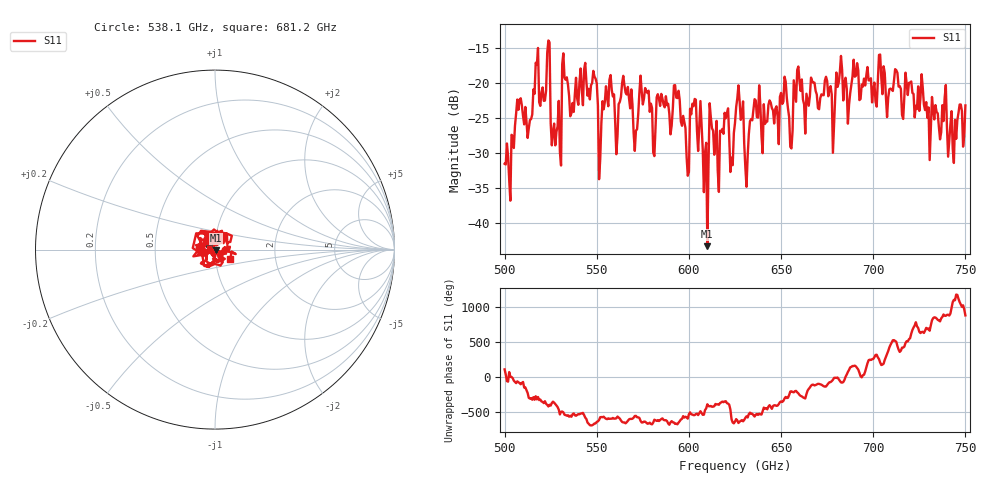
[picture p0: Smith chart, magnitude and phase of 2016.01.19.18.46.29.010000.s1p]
!Created with skrf (http://scikit-rf.org).
# GHz S RI R 50.0
!freq ReS11 ImS11
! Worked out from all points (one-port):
!   401 points, 500 GHz to 750 GHz, reference 50 ohm
!   lowest |S11| = -43.4 dB at 610 GHz (marker M1), VSWR 1.01, Z = 50.6 - j0.341 ohm
!   |S11| at or under -10 dB: start of sweep to end of sweep
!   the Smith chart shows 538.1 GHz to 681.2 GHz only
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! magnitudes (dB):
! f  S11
! 500 GHz  -31.6
! 507.5 GHz  -23.9
! 513.8 GHz  -25.3
! 516.9 GHz  -17.1
! 523.1 GHz  -15.7
! 526.9 GHz  -25.8
! 531.2 GHz  -17.4
! 532.5 GHz  -19.3
! 536.2 GHz  -24.4
! 548.8 GHz  -19.1
! 552.5 GHz  -25.8
! 556.2 GHz  -23.4
! 562.5 GHz  -22.8
! 576.9 GHz  -21.2
! 580.6 GHz  -30.0
! 593.8 GHz  -22.2
! 598.8 GHz  -30.7
! 602.5 GHz  -23.4
! 610 GHz  -43.4
! 625 GHz  -25.8
! 628.1 GHz  -25.3
! 631.2 GHz  -34.9
! 636.9 GHz  -24.9
! 656.2 GHz  -26.8
! 660 GHz  -19.9
! 687.5 GHz  -21.5
! 718.8 GHz  -21.8
! 750 GHz  -23.3
